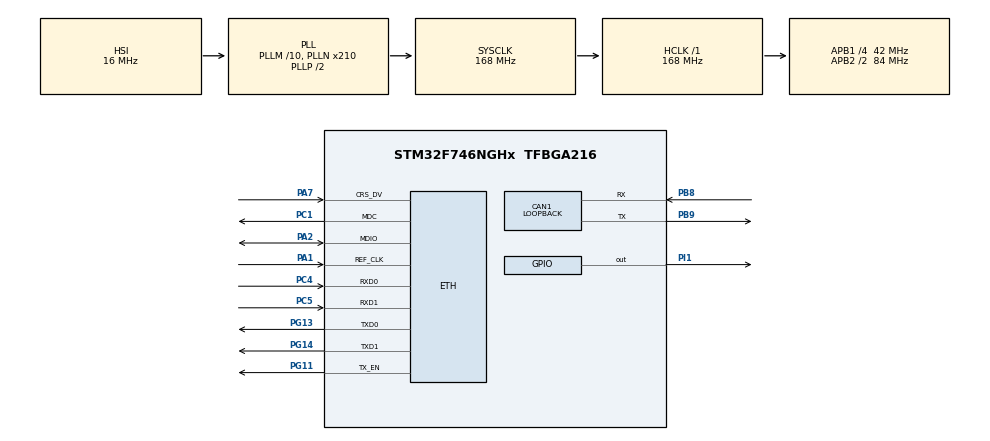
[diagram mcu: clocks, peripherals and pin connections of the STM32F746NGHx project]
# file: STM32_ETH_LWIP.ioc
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CAN1.BS1=CAN_BS1_9TQ
CAN1.BS2=CAN_BS2_5TQ
CAN1.CalculateTimeBit=5714
CAN1.CalculateTimeQuantum=380.95238095238096
CAN1.Mode=CAN_MODE_LOOPBACK
ETH.MediaInterface=ETH_MEDIA_INTERFACE_RMII
ETH.PhyAddress=0
LWIP.CHECKSUM_BY_HARDWARE=0
LWIP.GATEWAY_ADDRESS=010.010.000.254
LWIP.IP_ADDRESS=010.010.000.111
LWIP.LWIP_DHCP=0
LWIP.NETMASK_ADDRESS=255.255.255.000
LWIP.Version=v2.0.0_Cube
Mcu.Family=STM32F7
Mcu.Name=STM32F746NGHx
Mcu.Package=TFBGA216
NVIC.CAN1_RX0_IRQn=true\:0\:0\:false\:false\:true\:true\:true\:true
NVIC.PriorityGroup=NVIC_PRIORITYGROUP_4
PA1.Mode=RMII
PA1.Signal=ETH_REF_CLK
PA2.Mode=RMII
PA2.Signal=ETH_MDIO
PA7.Mode=RMII
PA7.Signal=ETH_CRS_DV
PA9.Signal=USART1_TX
PB8.Mode=Master
PB8.Signal=CAN1_RX
PB9.Mode=Master
PB9.Signal=CAN1_TX
PC1.Mode=RMII
PC1.Signal=ETH_MDC
PC4.Mode=RMII
PC4.Signal=ETH_RXD0
PC5.Mode=RMII
PC5.Signal=ETH_RXD1
PG11.Mode=RMII
PG11.Signal=ETH_TX_EN
PG13.Mode=RMII
PG13.Signal=ETH_TXD0
PG14.Mode=RMII
PG14.Signal=ETH_TXD1
PI1.Signal=GPIO_Output
ProjectManager.HeapSize=0x200
ProjectManager.StackSize=0x400
ProjectManager.TargetToolchain=STM32CubeIDE
RCC.AHBFreq_Value=168000000
RCC.APB1CLKDivider=RCC_HCLK_DIV4
RCC.APB1Freq_Value=42000000
RCC.APB1TimFreq_Value=84000000
RCC.APB2CLKDivider=RCC_HCLK_DIV2
RCC.APB2Freq_Value=84000000
RCC.APB2TimFreq_Value=168000000
RCC.CortexFreq_Value=168000000
RCC.HCLKFreq_Value=168000000
RCC.HSE_VALUE=25000000
RCC.HSI_VALUE=16000000
RCC.LSE_VALUE=32768
RCC.PLLM=10
RCC.PLLN=210
RCC.PLLSourceVirtual=RCC_PLLSOURCE_HSI
RCC.SYSCLKFreq_VALUE=168000000
RCC.SYSCLKSource=RCC_SYSCLKSOURCE_PLLCLK
RCC.USBFreq_Value=168000000
RCC.VCOOutputFreq_Value=336000000
VP_LWIP_VS_Enabled.Mode=Enabled
board=STM32F746G-DISCO

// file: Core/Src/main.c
/**
  ******************************************************************************
  * File Name          : main.c
  * Description        : Main program body
  ******************************************************************************
  * This notice applies to any and all portions of this file
  * that are not between comment pairs USER CODE BEGIN and
  * USER CODE END. Other portions of this file, whether
  * inserted by the user or by software development tools
  * are owned by their respective copyright owners.
  *
  * Copyright (c) 2024 STMicroelectronics International N.V.
  * All rights reserved.
  *
  * Redistribution and use in source and binary forms, with or without
  * modification, are permitted, provided that the following conditions are met:
  *
  * 1. Redistribution of source code must retain the above copyright notice,
  *    this list of conditions and the following disclaimer.
  * 2. Redistributions in binary form must reproduce the above copyright notice,
  *    this list of conditions and the following disclaimer in the documentation
  *    and/or other materials provided with the distribution.
  * 3. Neither the name of STMicroelectronics nor the names of other
  *    contributors to this software may be used to endorse or promote products
  *    derived from this software without specific written permission.
  * 4. This software, including modifications and/or derivative works of this
  *    software, must execute solely and exclusively on microcontroller or
  *    microprocessor devices manufactured by or for STMicroelectronics.
  * 5. Redistribution and use of this software other than as permitted under
  *    this license is void and will automatically terminate your rights under
  *    this license.
  *
  * THIS SOFTWARE IS PROVIDED BY STMICROELECTRONICS AND CONTRIBUTORS "AS IS"
  * AND ANY EXPRESS, IMPLIED OR STATUTORY WARRANTIES, INCLUDING, BUT NOT
  * LIMITED TO, THE IMPLIED WARRANTIES OF MERCHANTABILITY, FITNESS FOR A
  * PARTICULAR PURPOSE AND NON-INFRINGEMENT OF THIRD PARTY INTELLECTUAL PROPERTY
  * RIGHTS ARE DISCLAIMED TO THE FULLEST EXTENT PERMITTED BY LAW. IN NO EVENT
  * SHALL STMICROELECTRONICS OR CONTRIBUTORS BE LIABLE FOR ANY DIRECT, INDIRECT,
  * INCIDENTAL, SPECIAL, EXEMPLARY, OR CONSEQUENTIAL DAMAGES (INCLUDING, BUT NOT
  * LIMITED TO, PROCUREMENT OF SUBSTITUTE GOODS OR SERVICES; LOSS OF USE, DATA,
  * OR PROFITS; OR BUSINESS INTERRUPTION) HOWEVER CAUSED AND ON ANY THEORY OF
  * LIABILITY, WHETHER IN CONTRACT, STRICT LIABILITY, OR TORT (INCLUDING
  * NEGLIGENCE OR OTHERWISE) ARISING IN ANY WAY OUT OF THE USE OF THIS SOFTWARE,
  * EVEN IF ADVISED OF THE POSSIBILITY OF SUCH DAMAGE.
  *
  ******************************************************************************
  */

#include "main.h"
#include "stm32f7xx_hal.h"
#include "can.h"
#include "lwip.h"
#include "gpio.h"

/* USER CODE BEGIN PV */
/* Private variables ---------------------------------------------------------*/

/* USER CODE END PV */

void SystemClock_Config(void);

/* USER CODE BEGIN PFP */
/* Private function prototypes -----------------------------------------------*/

/* USER CODE END PFP */

/* USER CODE BEGIN 0 */

void Delay(volatile int number)
{
int j;
for(j = 0; j < number*4000; j++)
{}
}
extern struct netif gnetif;
/*UDP Block*/
void udp_receive_callback(void *arg, struct udp_pcb *upcb, struct pbuf *p, const ip_addr_t *addr, u16_t port)
{   char buffer[100];
	/* Copy the data from the pbuf */
	strncpy (buffer, (char *)p->payload, p->len);
	CanTxMsgTypeDef TxMessage;
	hcan1.pTxMsg = &TxMessage;
	hcan1.pTxMsg->StdId = 0x10; // ssStandard ID
	hcan1.pTxMsg->IDE = CAN_ID_STD; // Standard frame
	hcan1.pTxMsg->RTR = CAN_RTR_DATA; // Data frame
	hcan1.pTxMsg->DLC = 1; // Data length
	if(buffer[0]=='o'){
		hcan1.pTxMsg->Data[0] = 1;
		if (HAL_CAN_Transmit(&hcan1,1000) == HAL_OK) {
		}
	}
	else{
		hcan1.pTxMsg->Data[0] = 0;
		if (HAL_CAN_Transmit(&hcan1, 1000) == HAL_OK) {
		}
	}
	/* Free receive pbuf */
	pbuf_free(p);
}

void udpServer_init(void)
{
	// UDP Control Block structure
   struct udp_pcb *upcb;
   err_t err;

   /* 1. Create a new UDP control block  */
   upcb = udp_new();

   /* 2. Bind the upcb to the local port */
   ip_addr_t myIPADDR;
   IP_ADDR4(&myIPADDR, 10, 10, 0, 111);

   err = udp_bind(upcb, &myIPADDR, 7);  // 7 is the server UDP port

   /* 3. Set a receive callback for the upcb */
   if(err == ERR_OK)
   {
	   udp_recv(upcb, udp_receive_callback, NULL);
	   HAL_GPIO_WritePin(GPIOI, GPIO_PIN_1, GPIO_PIN_SET);
	   Delay(1000);
	   HAL_GPIO_WritePin(GPIOI, GPIO_PIN_1, GPIO_PIN_RESET);
	   Delay(1000);
	   HAL_GPIO_WritePin(GPIOI, GPIO_PIN_1, GPIO_PIN_SET);
	   Delay(1000);
	   HAL_GPIO_WritePin(GPIOI, GPIO_PIN_1, GPIO_PIN_RESET);
   }
   else
   {
	   udp_remove(upcb);
   }
}
/*End of UDP Blockss*/

/* USER CODE END 0 */

int main(void)
{

  /* MCU Configuration----------------------------------------------------------*/

  /* Reset of all peripherals, Initializes the Flash interface and the Systick. */
  HAL_Init();

  /* Configure the system clock */
  SystemClock_Config();

  /* Initialize all configured peripherals */
  MX_GPIO_Init();
  MX_LWIP_Init();
  MX_CAN1_Init();
  /* USER CODE BEGIN 2 */
  udpServer_init();
  HAL_CAN_Receive_IT(&hcan1, CAN_FIFO0);

  /* USER CODE END 2 */

  /* Infinite loop */
  while (1)
  {

  /* USER CODE BEGIN 3 */
	  MX_LWIP_Process();
  }
  /* USER CODE END 3 */

}

/** System Clock Configuration
*/
void SystemClock_Config(void)
{

  RCC_OscInitTypeDef RCC_OscInitStruct;
  RCC_ClkInitTypeDef RCC_ClkInitStruct;

    /**Configure the main internal regulator output voltage
    */
  __HAL_RCC_PWR_CLK_ENABLE();

  __HAL_PWR_VOLTAGESCALING_CONFIG(PWR_REGULATOR_VOLTAGE_SCALE2);

    /**Initializes the CPU, AHB and APB busses clocks
    */
  RCC_OscInitStruct.OscillatorType = RCC_OSCILLATORTYPE_HSI;
  RCC_OscInitStruct.HSIState = RCC_HSI_ON;
  RCC_OscInitStruct.HSICalibrationValue = 16;
  RCC_OscInitStruct.PLL.PLLState = RCC_PLL_ON;
  RCC_OscInitStruct.PLL.PLLSource = RCC_PLLSOURCE_HSI;
  RCC_OscInitStruct.PLL.PLLM = 10;
  RCC_OscInitStruct.PLL.PLLN = 210;
  RCC_OscInitStruct.PLL.PLLP = RCC_PLLP_DIV2;
  RCC_OscInitStruct.PLL.PLLQ = 2;
  if (HAL_RCC_OscConfig(&RCC_OscInitStruct) != HAL_OK)
  {
    _Error_Handler(__FILE__, __LINE__);
  }

    /**Initializes the CPU, AHB and APB busses clocks
    */
  RCC_ClkInitStruct.ClockType = RCC_CLOCKTYPE_HCLK|RCC_CLOCKTYPE_SYSCLK
                              |RCC_CLOCKTYPE_PCLK1|RCC_CLOCKTYPE_PCLK2;
  RCC_ClkInitStruct.SYSCLKSource = RCC_SYSCLKSOURCE_PLLCLK;
  RCC_ClkInitStruct.AHBCLKDivider = RCC_SYSCLK_DIV1;
  RCC_ClkInitStruct.APB1CLKDivider = RCC_HCLK_DIV4;
  RCC_ClkInitStruct.APB2CLKDivider = RCC_HCLK_DIV2;

  if (HAL_RCC_ClockConfig(&RCC_ClkInitStruct, FLASH_LATENCY_5) != HAL_OK)
  {
    _Error_Handler(__FILE__, __LINE__);
  }

    /**Configure the Systick interrupt time
    */
  HAL_SYSTICK_Config(HAL_RCC_GetHCLKFreq()/1000);

    /**Configure the Systick
    */
  HAL_SYSTICK_CLKSourceConfig(SYSTICK_CLKSOURCE_HCLK);

  /* SysTick_IRQn interrupt configuration */
  HAL_NVIC_SetPriority(SysTick_IRQn, 15, 0);
}

/* USER CODE BEGIN 4 */
void HAL_CAN_RxCpltCallback(CAN_HandleTypeDef *hcan) {
	if(hcan->pRxMsg->Data[0]==1){
	//CanRxMsgTypeDef RxMessage;
	//hcan->pRxMsg = &RxMessage;
    	HAL_GPIO_WritePin(GPIOI, GPIO_PIN_1, GPIO_PIN_SET);
    }
    if(hcan->pRxMsg->Data[0]==0){
    	HAL_GPIO_WritePin(GPIOI, GPIO_PIN_1, GPIO_PIN_RESET);
    }

}
/* USER CODE END 4 */

void _Error_Handler(char * file, int line)
{
  while(1)
  {
  }
}

/************************ (C) COPYRIGHT STMicroelectronics *****END OF FILE****/
